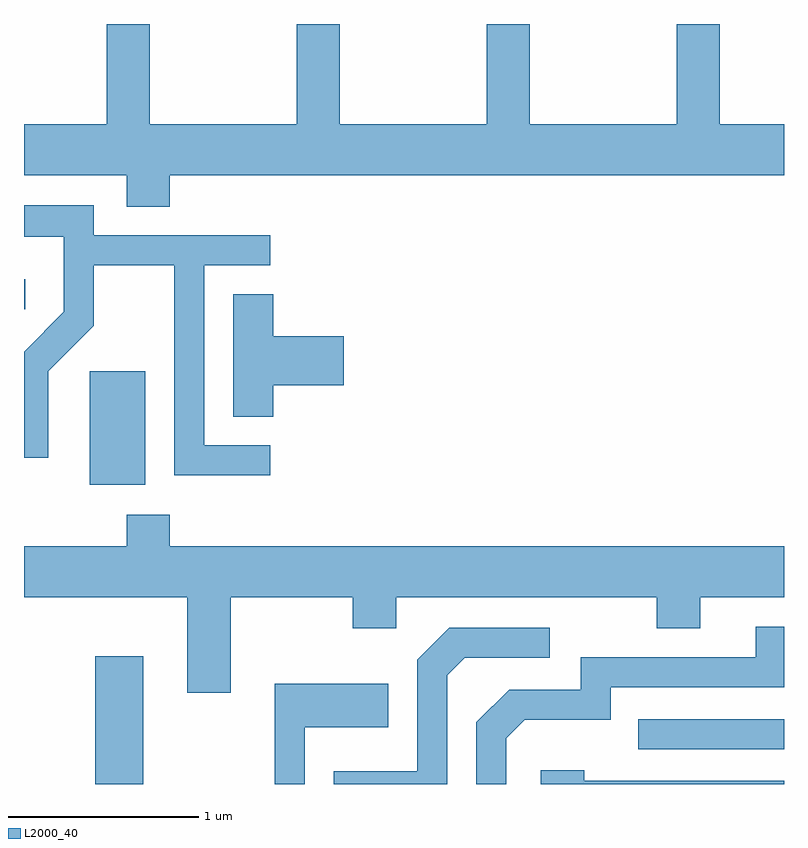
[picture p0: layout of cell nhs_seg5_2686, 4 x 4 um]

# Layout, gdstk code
import gdstk
lib = gdstk.Library(unit=1e-6, precision=1e-09)
def R(c, l, rs):  # rectangles x0, y0, x1, y1
    for r in rs: c.add(gdstk.rectangle(r[:2], r[2:], *l))
def P(c, l, *ps):  # polygons
    for p in ps: c.add(gdstk.Polygon(p, *l))
L2000_40 = (2000, 40)

nhs_seg5_2686 = lib.new_cell('nhs_seg5_2686')
R(nhs_seg5_2686, L2000_40, [(265.986,1418.072,266.239,1418.744), (268.843,1418.256,269.611,1418.414), (265.956,1419.646,266.249,1420.244), (265.611,1420.571,265.618,1420.729)])
P(nhs_seg5_2686, L2000_40, [(269.611,1421.544),(269.274,1421.544),(269.274,1422.072),(269.046,1422.072),(269.046,1421.544),(268.274,1421.544),(268.274,1422.072),(268.046,1422.072),(268.046,1421.544),(267.274,1421.544),(267.274,1422.072),(267.046,1422.072),(267.046,1421.544),(266.274,1421.544),(266.274,1422.072),(266.046,1422.072),(266.046,1421.544),(265.611,1421.544),(265.611,1421.276),(266.151,1421.276),(266.151,1421.111),(266.379,1421.111),(266.379,1421.276),(269.611,1421.276)],
  [(266.908,1419.854),(266.559,1419.854),(266.559,1420.801),(266.908,1420.801),(266.908,1420.959),(265.979,1420.959),(265.979,1421.119),(265.611,1421.119),(265.611,1420.951),(265.821,1420.951),(265.821,1420.557),(265.611,1420.347),(265.611,1419.788),(265.739,1419.788),(265.739,1420.244),(265.979,1420.484),(265.979,1420.801),(266.401,1420.801),(266.401,1419.696),(266.908,1419.696)],
  [(266.924,1420.171),(267.294,1420.171),(267.294,1420.429),(266.924,1420.429),(266.924,1420.649),(266.711,1420.649),(266.711,1420.006),(266.924,1420.006)],
  [(266.699,1419.056),(267.341,1419.056),(267.341,1418.891),(267.569,1418.891),(267.569,1419.056),(268.941,1419.056),(268.941,1418.891),(269.169,1418.891),(269.169,1419.056),(269.611,1419.056),(269.611,1419.324),(266.379,1419.324),(266.379,1419.489),(266.151,1419.489),(266.151,1419.324),(265.611,1419.324),(265.611,1419.056),(266.471,1419.056),(266.471,1418.551),(266.699,1418.551)],
  [(268.149,1418.314),(268.247,1418.411),(268.699,1418.411),(268.699,1418.581),(269.611,1418.581),(269.611,1418.899),(269.461,1418.899),(269.461,1418.739),(268.541,1418.739),(268.541,1418.569),(268.164,1418.569),(267.991,1418.397),(267.991,1418.072),(268.149,1418.072)],
  [(267.839,1418.644),(267.932,1418.736),(268.378,1418.736),(268.378,1418.894),(267.849,1418.894),(267.681,1418.727),(267.681,1418.139),(267.241,1418.139),(267.241,1418.072),(267.839,1418.072)],
  [(267.089,1418.371),(267.529,1418.371),(267.529,1418.599),(266.931,1418.599),(266.931,1418.072),(267.089,1418.072)],
  [(269.611,1418.089),(268.559,1418.089),(268.559,1418.144),(268.331,1418.144),(268.331,1418.072),(269.611,1418.072)])

lib.write_gds('nhs_seg5_2686.gds')
